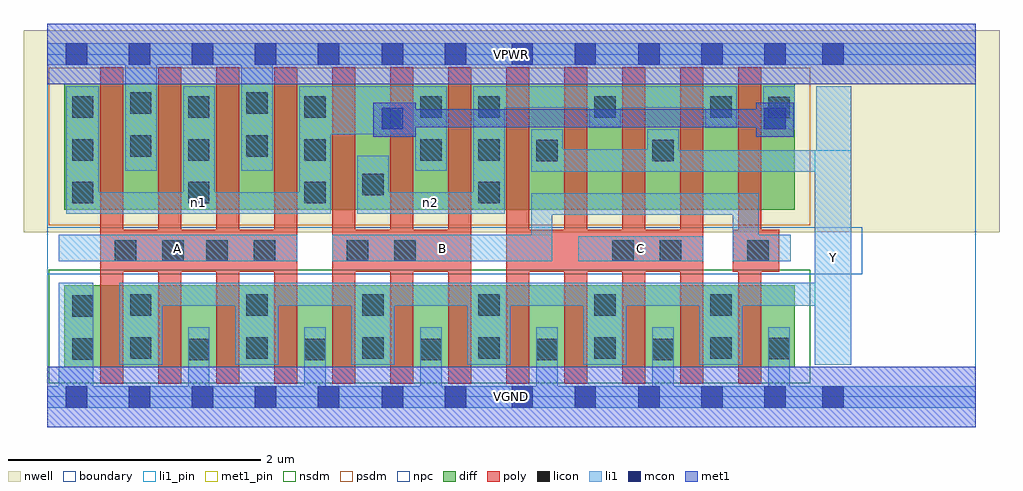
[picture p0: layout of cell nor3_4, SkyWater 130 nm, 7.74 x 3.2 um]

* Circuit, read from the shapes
.subckt nor3_4 A B C VGND VPWR Y n1 n2
XM1 Y A VGND VSUBS sky130_fd_pr__nfet_01v8 w=0.65 l=0.18 m=4
XM2 Y B VGND VSUBS sky130_fd_pr__nfet_01v8 w=0.65 l=0.18 m=4
XM3 VGND C Y VSUBS sky130_fd_pr__nfet_01v8 w=0.65 l=0.18 m=4
XM4 VPWR A n1 n3 sky130_fd_pr__pfet_01v8 w=1 l=0.18 m=4
XM5 n2 B n1 n3 sky130_fd_pr__pfet_01v8 w=1 l=0.18 m=4
XM6 Y C n2 n3 sky130_fd_pr__pfet_01v8 w=1 l=0.18 m=4
.ends

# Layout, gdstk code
import gdstk
lib = gdstk.Library(unit=1e-6, precision=1e-09)
def R(c, l, rs):  # rectangles x0, y0, x1, y1
    for r in rs: c.add(gdstk.rectangle(r[:2], r[2:], *l))
def A(c, l, x, y, w, h, nx, ny, dx, dy):  # array of equal rectangles
    R(c, l, [(x+i*dx, y+j*dy, x+i*dx+w, y+j*dy+h) for i in range(nx) for j in range(ny)])
nwell = (64, 20)
diff = (65, 20)
poly = (66, 20)
licon = (66, 44)
li1_pin = (67, 16)
li1 = (67, 20)
mcon = (67, 44)
met1_pin = (68, 16)
met1 = (68, 20)
nsdm = (93, 44)
psdm = (94, 20)
npc = (95, 20)
boundary = (235, 4)

nor3_4 = lib.new_cell('nor3_4')
R(nor3_4, nwell, [(-0.19,1.305,7.55,2.91), (0,1.305,7.36,2.91)])
R(nor3_4, diff, [(0.135,0.235,5.925,0.885), (0.135,1.485,5.925,2.485)])
A(nor3_4, poly, 0.42, 0.105, 0.18, 2.51, 12, 1, 0.46, 0)
R(nor3_4, poly, [(0.42,0.995,1.98,1.325), (2.26,0.995,3.36,1.325), (3.64,0.995,5.2,1.325), (5.435,0.995,5.805,1.325)])
A(nor3_4, licon, 1.115, 0.29, 0.17, 0.17, 5, 1, 0.92, 0)
A(nor3_4, licon, 0.655, 0.305, 0.17, 0.17, 6, 2, 0.92, 0.34)
A(nor3_4, licon, 0.195, 1.535, 0.17, 0.17, 3, 1, 0.92, 0)
A(nor3_4, licon, 0.195, 1.875, 0.17, 0.17, 4, 2, 0.92, 0.34)
A(nor3_4, licon, 3.415, 2.215, 0.17, 0.17, 3, 1, 0.92, 0)
R(nor3_4, licon, [(0.195,0.295,0.365,0.465), (5.715,0.3,5.885,0.47), (0.195,0.635,0.365,0.805), (0.535,1.075,0.705,1.245), (0.91,1.075,1.08,1.245), (1.26,1.075,1.43,1.245), (1.635,1.075,1.805,1.245), (2.375,1.075,2.545,1.245), (2.75,1.075,2.92,1.245), (4.48,1.075,4.65,1.245), (4.855,1.075,5.025,1.245), (5.55,1.075,5.72,1.245), (3.415,1.535,3.585,1.705), (2.495,1.6,2.665,1.77), (3.875,1.87,4.045,2.04), (4.795,1.87,4.965,2.04), (3.415,1.875,3.585,2.045), (0.655,1.905,0.825,2.075), (1.575,1.905,1.745,2.075), (5.715,2.21,5.885,2.38), (0.655,2.245,0.825,2.415), (1.575,2.245,1.745,2.415)])
R(nor3_4, li1_pin, [(6.085,0.255,6.375,1.955), (0.09,1.075,1.98,1.285), (2.26,1.075,4.005,1.285), (4.21,1.075,5.2,1.275)])
A(nor3_4, li1, 1.115, -0.085, 0.17, 0.64, 6, 1, 0.92, 0)
A(nor3_4, li1, 0.57, 0.255, 0.34, 0.65, 6, 1, 0.92, 0)
R(nor3_4, li1, [(0,-0.085,7.36,0.085), (0.09,-0.085,0.365,0.905), (6.085,0.255,6.375,1.955), (6.095,0.255,6.375,2.465), (0.57,0.725,6.375,0.905), (0.09,1.075,1.98,1.285), (2.26,1.075,4.005,1.285), (3.835,1.075,4.005,1.615), (4.21,1.075,5.2,1.275), (5.435,1.075,5.895,1.285), (5.435,1.075,5.64,1.615), (3.835,1.445,5.64,1.615), (0.15,1.455,2.245,1.625), (0.15,1.455,0.405,2.465), (1.075,1.455,1.325,2.465), (1.995,1.455,2.245,2.465), (2.455,1.455,3.625,1.625), (2.455,1.455,2.705,1.915), (3.375,1.455,3.625,2.465), (3.835,1.785,4.085,2.125), (3.835,1.785,6.375,1.955), (3.835,1.785,5.005,1.965), (4.755,1.785,5.005,2.125), (0.615,1.795,0.865,2.805), (1.535,1.795,1.785,2.805), (2.915,1.795,3.165,2.465), (1.995,2.085,3.165,2.465), (5.675,2.125,5.925,2.465), (4.295,2.135,4.545,2.465), (5.215,2.135,5.465,2.465), (3.375,2.295,5.465,2.465), (0,2.635,7.36,2.805)])
A(nor3_4, mcon, 0.145, -0.085, 0.17, 0.17, 5, 2, 0.5, 2.72)
A(nor3_4, mcon, 4.685, -0.085, 0.17, 0.17, 3, 2, 0.5, 2.72)
R(nor3_4, mcon, [(2.65,-0.085,2.82,0.085), (3.15,-0.085,3.32,0.085), (3.68,-0.085,3.85,0.085), (4.18,-0.085,4.35,0.085), (6.145,-0.085,6.315,0.085), (2.65,2.125,2.82,2.295), (5.685,2.125,5.855,2.295), (2.65,2.635,2.82,2.805), (3.15,2.635,3.32,2.805), (3.68,2.635,3.85,2.805), (4.18,2.635,4.35,2.805), (6.145,2.635,6.315,2.805)])
R(nor3_4, met1_pin, [(0,-0.24,7.36,0.24), (0,2.48,7.36,2.96)])
R(nor3_4, met1, [(0,-0.24,7.36,0.24), (2.585,2.065,2.92,2.335), (5.62,2.065,5.92,2.335), (2.585,2.14,5.92,2.28), (0,2.48,7.36,2.96)])
R(nor3_4, nsdm, [(0.01,0.11,6.05,1.01)])
R(nor3_4, psdm, [(0.01,1.36,6.05,2.61)])
R(nor3_4, npc, [(0,0.975,6.46,1.345)])
R(nor3_4, boundary, [(0,0,7.36,2.72)])
nor3_4.add(gdstk.Label('A', (1.035,1.18), layer=67, texttype=5))
nor3_4.add(gdstk.Label('B', (3.132,1.18), layer=67, texttype=5))
nor3_4.add(gdstk.Label('C', (4.705,1.175), layer=67, texttype=5))
nor3_4.add(gdstk.Label('Y', (6.23,1.105), layer=67, texttype=5))
nor3_4.add(gdstk.Label('n1', (1.197,1.54), layer=67, texttype=5))
nor3_4.add(gdstk.Label('n2', (3.04,1.54), layer=67, texttype=5))
nor3_4.add(gdstk.Label('VPWR', (3.68,2.72), layer=68, texttype=5))
nor3_4.add(gdstk.Label('VGND', (3.68,0), layer=68, texttype=5))
nor3_4.add(gdstk.Label('A', (1.035,1.18), layer=67, texttype=16))
nor3_4.add(gdstk.Label('B', (3.132,1.18), layer=67, texttype=16))
nor3_4.add(gdstk.Label('C', (4.705,1.175), layer=67, texttype=16))
nor3_4.add(gdstk.Label('Y', (6.23,1.105), layer=67, texttype=16))
nor3_4.add(gdstk.Label('VPWR', (3.68,2.72), layer=68, texttype=16))
nor3_4.add(gdstk.Label('VGND', (3.68,0), layer=68, texttype=16))

lib.write_gds('nor3_4.gds')
